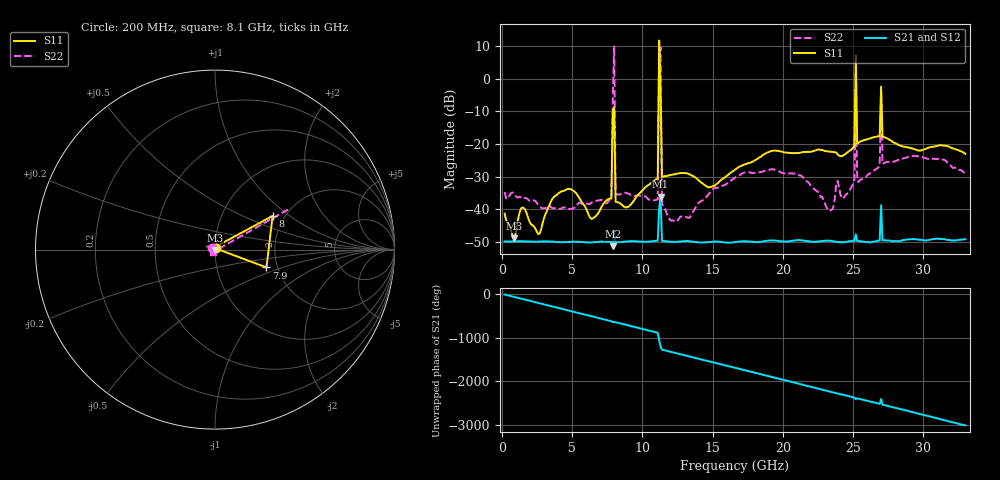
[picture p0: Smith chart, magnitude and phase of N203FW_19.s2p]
# GHZ S RI R 50
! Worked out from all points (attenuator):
!   329 points, 200 MHz to 33 GHz, reference 50 ohm
!   highest |S21| = -36.18 dB at 11.3 GHz (marker M1); lowest = -51.4 dB at 7.9 GHz (marker M2)
!   lowest |S11| = -49.0 dB at 900 MHz (marker M3), VSWR 1.01, Z = 49.9 - j0.324 ohm
!   |S11| at or under -10 dB: start of sweep to 7.92 GHz; 11.33 GHz to 25.14 GHz (13.81 GHz wide, 75.8 % of centre); 27.05 GHz to end of sweep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
!   |S22| runs from -43.9 to 10.2 dB; largest |S21 - S12| = 0.02
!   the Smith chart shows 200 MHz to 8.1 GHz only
!   S11 on the Smith chart (normalised r, x): 200 MHz: 1.01, +0.01; 7.9 GHz: 1.75, -0.38; 8 GHz: 1.74, +0.76; 8.1 GHz: 0.99, +0.03
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0.2  0.00503 0.00688  0.00305 -0.000894  0.00306 -0.000887  -0.0149 0.0105
0.9  -0.00145 -0.00325  0.000976 -0.00304  0.000977 -0.00305  -0.0124 0.0117
1.4  -0.00973 -0.00357  -0.00125 -0.00294  -0.00125 -0.00295  -0.00883 0.0121
5.7  0.0053 0.0115  -0.000449 -0.00308  -0.000466 -0.00308  0.00554 -0.0108
7.8  -0.00908 0.0113  -0.000207 0.0031  -0.000215 0.00311  -0.00838 -0.0124
7.9  0.2868 -0.0993  0.000814 0.00256  0.000798 0.00248  0.4199 0.2309
8  0.321 0.1876  0.00117 0.00436  0.000477 0.00604  2.748 1.72
8.1  -0.00265 0.0127  0.00104 0.0029  0.00105 0.0029  -0.0123 -0.0118
11.1  0.00307 0.0292  -0.00322 -0.00053  -0.00321 -0.000527  -0.0126 0.00618
11.2  2.719 2.808  0.00919 0.00426  0.0172 0.0231  -0.7141 -0.8928
11.3  0.6326 0.3324  -0.00889 -0.0127  -0.00952 -0.0102  0.3342 3.073
11.4  0.0195 0.0243  -0.00312 0.000887  -0.00312 0.000894  -0.00948 0.00732
16.6  -0.0336 0.0221  -0.00105 0.00293  -0.00105 0.00293  -0.0301 0.00489
22.1  -0.0311 -0.0704  0.00285 0.00134  0.00285 0.00134  0.0188 0.0109
25.1  -0.0411 -0.0833  -0.00266 0.00183  -0.00269 0.00184  -0.0251 -0.00906
25.2  2.204 0.6696  -0.00144 0.00383  -0.00124 0.00384  0.2993 0.5191
25.3  -0.0762 -0.067  -0.00205 0.00251  -0.00203 0.0025  -0.0274 -0.00377
26.9  0.0617 0.1157  0.0033 0.000209  0.00325 0.000177  -0.0412 0.0201
27  0.505 -0.573  -0.0049 0.0103  -0.000987 0.00101  -0.2652 0.5759
27.1  0.0985 0.084  0.00322 -0.00076  0.00321 -0.00078  -0.0417 0.0262
27.6  0.1129 -0.0278  0.00184 -0.00272  0.00188 -0.00269  -0.0371 0.0379
33  0.0175 0.0684  -0.00225 -0.0026  -0.00225 -0.00257  0.0338 0.0119
